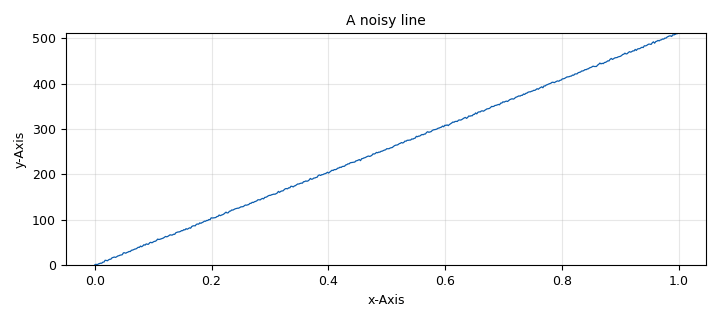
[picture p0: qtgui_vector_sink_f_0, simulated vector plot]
<?xml version='1.0' encoding='utf-8'?>
<?grc format='1' created='3.7.8'?>
<flow_graph>
<block>
<key>options</key>
<param><key>id</key><value>qt_example_vector_sink</value></param>
<param><key>category</key><value>Custom</value></param>
<param><key>generate_options</key><value>qt_gui</value></param>
<param><key>title</key><value>QT GUI Vector Sink Example</value></param>
</block>
<block>
<key>variable</key>
<param><key>id</key><value>samp_rate</value></param>
<param><key>value</key><value>32000</value></param>
</block>
<block>
<key>variable</key>
<param><key>id</key><value>veclen</value></param>
<param><key>value</key><value>512</value></param>
</block>
<block>
<key>analog_fastnoise_source_x</key>
<param><key>id</key><value>analog_fastnoise_source_x_0</value></param>
<param><key>amp</key><value>1</value></param>
<param><key>noise_type</key><value>analog.GR_GAUSSIAN</value></param>
<param><key>type</key><value>float</value></param>
<param><key>seed</key><value>0</value></param>
<param><key>samples</key><value>8192</value></param>
</block>
<block>
<key>blocks_add_xx</key>
<param><key>id</key><value>blocks_add_xx_0</value></param>
<param><key>type</key><value>float</value></param>
<param><key>vlen</key><value>veclen</value></param>
</block>
<block>
<key>blocks_message_debug</key>
<param><key>id</key><value>blocks_message_debug_0</value></param>
</block>
<block>
<key>blocks_stream_to_vector</key>
<param><key>id</key><value>blocks_stream_to_vector_0</value></param>
<param><key>type</key><value>float</value></param>
<param><key>num_items</key><value>veclen</value></param>
</block>
<block>
<key>blocks_throttle</key>
<param><key>id</key><value>blocks_throttle_0</value></param>
<param><key>samples_per_second</key><value>samp_rate</value></param>
<param><key>type</key><value>float</value></param>
<param><key>vlen</key><value>veclen</value></param>
</block>
<block>
<key>blocks_vector_source_x</key>
<param><key>id</key><value>blocks_vector_source_x_0</value></param>
<param><key>type</key><value>float</value></param>
<param><key>repeat</key><value>True</value></param>
<param><key>vlen</key><value>veclen</value></param>
<param><key>vector</key><value>range(veclen)</value></param>
</block>
<block>
<key>qtgui_vector_sink_f</key>
<param><key>id</key><value>qtgui_vector_sink_f_0</value></param>
<param><key>grid</key><value>True</value></param>
<param><key>name</key><value>"A noisy line"</value></param>
<param><key>vlen</key><value>veclen</value></param>
<param><key>x_start</key><value>0</value></param>
<param><key>x_step</key><value>1.0/veclen</value></param>
<param><key>ymax</key><value>512</value></param>
<param><key>ymin</key><value>0</value></param>
</block>
<connection><source_block_id>analog_fastnoise_source_x_0</source_block_id><sink_block_id>blocks_stream_to_vector_0</sink_block_id><source_key>0</source_key><sink_key>0</sink_key></connection>
<connection><source_block_id>blocks_add_xx_0</source_block_id><sink_block_id>qtgui_vector_sink_f_0</sink_block_id><source_key>0</source_key><sink_key>0</sink_key></connection>
<connection><source_block_id>blocks_stream_to_vector_0</source_block_id><sink_block_id>blocks_add_xx_0</sink_block_id><source_key>0</source_key><sink_key>1</sink_key></connection>
<connection><source_block_id>blocks_throttle_0</source_block_id><sink_block_id>blocks_add_xx_0</sink_block_id><source_key>0</source_key><sink_key>0</sink_key></connection>
<connection><source_block_id>blocks_vector_source_x_0</source_block_id><sink_block_id>blocks_throttle_0</sink_block_id><source_key>0</source_key><sink_key>0</sink_key></connection>
<connection><source_block_id>qtgui_vector_sink_f_0</source_block_id><sink_block_id>blocks_message_debug_0</sink_block_id><source_key>xval</source_key><sink_key>print</sink_key></connection>
</flow_graph>
